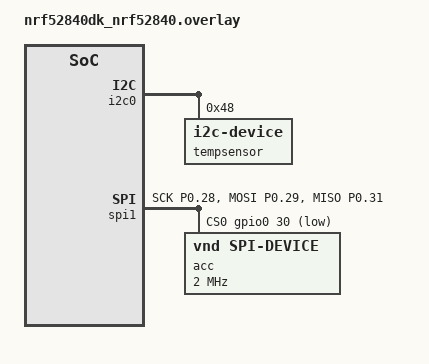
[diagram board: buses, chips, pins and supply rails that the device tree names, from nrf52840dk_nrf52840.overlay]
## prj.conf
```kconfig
CONFIG_I2C=y
CONFIG_LOG=y
CONFIG_CBPRINTF_FP_SUPPORT=y
CONFIG_SPI=y
```

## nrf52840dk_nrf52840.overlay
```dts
&spi0 { status = "disabled";};
&i2c1 { status = "disabled";};
&i2c0 {
  tempsensor: tmp102@48 {
    compatible = "i2c-device";
    reg = <0x48>;
    status = "okay";
  };
};

&spi1 {
    compatible = "nordic,nrf-spim";
    status = "okay";
    pinctrl-0 = <&spi1_default>;
    pinctrl-1 = <&spi1_sleep>;
    pinctrl-names = "default", "sleep";
    cs-gpios = <&gpio0 30 GPIO_ACTIVE_LOW>;
    acc: adxl345@0 {
        compatible = "vnd,spi-device";
        reg = <0>;
        spi-max-frequency = <2000000>;
        spi-cpol;
        spi-cpha;
    };
};

&pinctrl {
    spi1_default: spi1_default {
        group1 {
            psels = <NRF_PSEL(SPIM_SCK, 0, 28)>,
                    <NRF_PSEL(SPIM_MOSI, 0, 29)>,
                    <NRF_PSEL(SPIM_MISO, 0, 31)>;
        };
    };
    spi1_sleep: spi1_sleep {
        group1 {
            psels = <NRF_PSEL(SPIM_SCK, 0, 28)>,
                    <NRF_PSEL(SPIM_MOSI, 0, 29)>,
                    <NRF_PSEL(SPIM_MISO, 0, 31)>;
            low-power-enable;
        };
    };
  };
```

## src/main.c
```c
/******************************************************
 * Tap Temperature Logger
 * 
 * Waits for single and double taps from an accelerometer, 
 * on a single tap it reads the temperature and stores it in a queue (max 20),
 * on a double tap, calculates and logs the average of the stored temperatures.
 * A button cycles the displayed units
 ******************************************************/

#include <zephyr/kernel.h>
#include <zephyr/device.h>
#include <zephyr/drivers/i2c.h>
#include <zephyr/drivers/spi.h>
#include <zephyr/drivers/gpio.h>
#include <zephyr/logging/log.h>

LOG_MODULE_REGISTER(YT_12_1, LOG_LEVEL_INF);

#define TMP_NODE DT_NODELABEL(tempsensor)
#define SINGLE_TAP (1 << 6)
#define DOUBLE_TAP (1 << 5)
#define QUEUE_SIZE 20

const struct i2c_dt_spec tempSensor = I2C_DT_SPEC_GET(TMP_NODE);

#define SPIOP (SPI_WORD_SET(8) | SPI_TRANSFER_MSB | SPI_MODE_CPOL | SPI_MODE_CPHA)
struct spi_dt_spec acc = SPI_DT_SPEC_GET(DT_NODELABEL(acc), SPIOP, 0);

#define INT2_PORT DT_NODELABEL(gpio0)
#define INT2_PIN 4
const struct device *gpio0 = DEVICE_DT_GET(INT2_PORT);

#define BUTTON_NODE DT_ALIAS(sw0)
static const struct gpio_dt_spec button = GPIO_DT_SPEC_GET(BUTTON_NODE, gpios);
static struct gpio_callback button_cb;

K_MUTEX_DEFINE(i2c_mutex);

K_MSGQ_DEFINE(temp_msgq, sizeof(float), QUEUE_SIZE, 4);

#define STACK_SIZE 1024
#define PRIORITY 5

static int unit_mode = 0;

static int adxl_write(uint8_t reg, uint8_t val) {
    uint8_t tx_buf[2] = { reg, val };
    struct spi_buf buf = { .buf = tx_buf, .len = 2 };
    struct spi_buf_set tx = { .buffers = &buf, .count = 1 };
    return spi_write_dt(&acc, &tx);
}

static int adxl_read(uint8_t reg, uint8_t *val) {
    uint8_t tx_buf[2] = {reg | 0x80, 0x00};
    uint8_t rx_buf[2];
    struct spi_buf txb = {.buf = tx_buf, .len = 2};
    struct spi_buf rxb = {.buf = rx_buf, .len = 2};
    struct spi_buf_set tx = {.buffers = &txb, .count = 1};
    struct spi_buf_set rx = {.buffers = &rxb, .count = 1};
    int ret = spi_transceive_dt(&acc, &tx, &rx);
    *val = rx_buf[1];
    return ret;
}

float convert_temp(float c) {
    if(unit_mode == 1) {
        return c + 273.15f;
    }
    if(unit_mode == 2) {
        return (c * 9.0f / 5.0f) + 32.0f;
    }
    if(unit_mode == 3) {
        return (c + 273.15f) * 9.0f / 5.0f;
    }
    return c;
}

const char *unit_string(void)
{
    if(unit_mode == 1) {
        return "K";
    }
    if(unit_mode == 2) {
        return "F";
    }
    if(unit_mode == 3) {
        return "R";
    }
    return "C";
}

void button_pressed(const struct device *dev, struct gpio_callback *cb, uint32_t pins) {
    unit_mode = (unit_mode + 1) % 4;
    LOG_INF("Units set to %s", unit_string());
}

float read_temperature_c(void)
{
    uint8_t reg = 0x00;
    uint8_t buf[2];
    int16_t raw;
    float temp;
    k_mutex_lock(&i2c_mutex, K_FOREVER);
    i2c_write_read_dt(&tempSensor, &reg, 1, buf, 2);
    k_mutex_unlock(&i2c_mutex);
    raw = (buf[0] << 4) | (buf[1] >> 4);
    temp = raw * 0.0625f;
    return temp;
}

void average_and_clear_queue(void) {
    float sum = 0.0f;
    float temp;
    int count = 0;
    while(k_msgq_get(&temp_msgq, &temp, K_NO_WAIT) == 0) {
        sum += temp;
        count++;
    }
    if(count == 0) {
        LOG_INF("No data");
        return;
    }
    float avg_c = sum / count;
    float avg = convert_temp(avg_c);
    LOG_INF("Average temperature: %.2f %s (%d samples)", avg, unit_string(), count);
}

void tap_thread(void) {
    uint8_t int_source;
    while(true) {
        if(gpio_pin_get(gpio0, INT2_PIN)) {
            adxl_read(0x30, &int_source);
            if(int_source & DOUBLE_TAP) {
                LOG_INF("Double tap detected");
                average_and_clear_queue();
            }
            else if(int_source & SINGLE_TAP) {
                float temp = read_temperature_c();
                if(k_msgq_put(&temp_msgq, &temp, K_NO_WAIT) != 0) {
                    float old;
                    k_msgq_get(&temp_msgq, &old, K_NO_WAIT);
                    k_msgq_put(&temp_msgq, &temp, K_NO_WAIT);
                }
                LOG_INF("Stored temp: %.2f %s, Queue count: %d", convert_temp(temp), unit_string(), k_msgq_num_used_get(&temp_msgq));
            }
        }
        k_sleep(K_MSEC(10));
    }
}

K_THREAD_DEFINE(tap_thread_id, STACK_SIZE, tap_thread, NULL, NULL, NULL, PRIORITY, 0, 0);

int main(void) {
    if(!i2c_is_ready_dt(&tempSensor)) {
        LOG_ERR("I2C not ready");
        return -1;
    }
    if(!spi_is_ready_dt(&acc)) {
        LOG_ERR("SPI not ready");
        return -1;
    }
    if(!device_is_ready(gpio0)) {
        LOG_ERR("GPIO not ready");
        return -1;
    }

    gpio_pin_configure_dt(&button, GPIO_INPUT | GPIO_PULL_UP);
    gpio_pin_interrupt_configure_dt(&button, GPIO_INT_EDGE_FALLING);
    gpio_init_callback(&button_cb, button_pressed, BIT(button.pin));
    gpio_add_callback(button.port, &button_cb);

    adxl_write(0x1D, 0x50); 
    adxl_write(0x21, 0x10); 
    adxl_write(0x22, 0x05); 
    adxl_write(0x23, 0xFF); 
    adxl_write(0x2A, 0x07); 
    adxl_write(0x2E, 0x60); 
    adxl_write(0x2F, 0x60);

    adxl_write(0x2D, 0x08);

    gpio_pin_configure(gpio0, INT2_PIN, GPIO_INPUT | GPIO_PULL_DOWN);

    LOG_INF("Program started");

    while(true) {
        k_sleep(K_FOREVER);
    }
}
```
